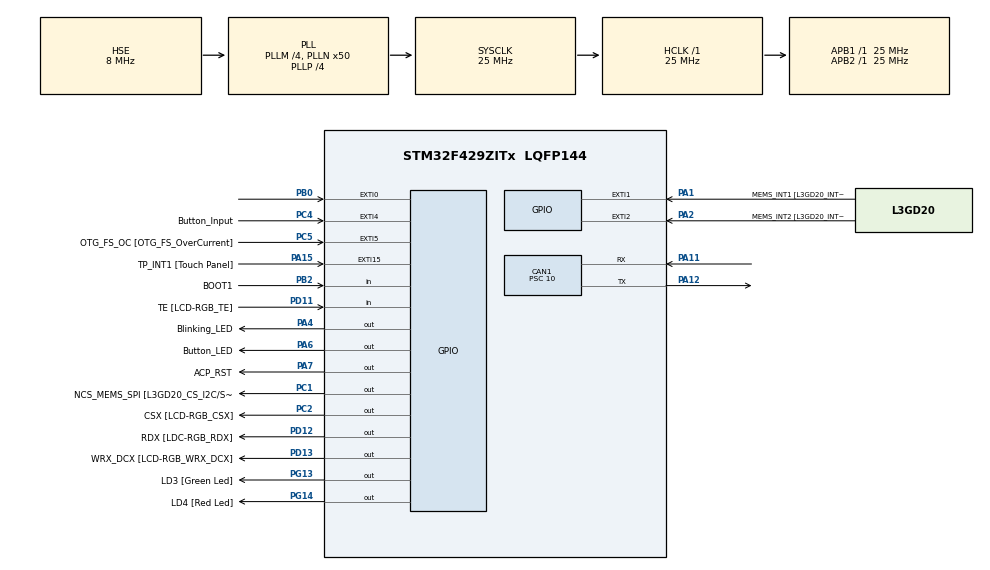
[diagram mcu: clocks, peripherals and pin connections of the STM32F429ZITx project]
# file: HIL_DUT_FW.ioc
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CAN1.BS1=CAN_BS1_8TQ
CAN1.CalculateBaudRate=250000
CAN1.CalculateTimeBit=4000
CAN1.CalculateTimeQuantum=400.0
CAN1.Prescaler=10
Mcu.Family=STM32F4
Mcu.Name=STM32F429ZITx
Mcu.Package=LQFP144
NVIC.CAN1_RX0_IRQn=true\:14\:0\:true\:false\:true\:true\:true\:true
NVIC.CAN1_SCE_IRQn=true\:14\:0\:true\:false\:true\:true\:true\:true
NVIC.CAN1_TX_IRQn=true\:14\:0\:true\:false\:true\:true\:true\:true
NVIC.EXTI0_IRQn=true\:15\:0\:true\:false\:true\:true\:true\:true
NVIC.PriorityGroup=NVIC_PRIORITYGROUP_4
NVIC.TIM6_DAC_IRQn=true\:0\:0\:false\:false\:true\:false\:true\:true
NVIC.TIM7_IRQn=true\:14\:0\:true\:false\:true\:true\:true\:true
NVIC.TimeBase=TIM6_DAC_IRQn
NVIC.TimeBaseIP=TIM6
PA1.GPIO_Label=MEMS_INT1 [L3GD20_INT1]
PA1.GPIO_ModeDefaultEXTI=GPIO_MODE_EVT_RISING
PA1.GPIO_PuPd=GPIO_NOPULL
PA1.Signal=GPXTI1
PA10.GPIO_Label=STLINK_TX [STM32F103CBT6_PA2]
PA10.Signal=USART1_RX
PA11.Mode=CAN_Activate
PA11.Signal=CAN1_RX
PA12.Mode=CAN_Activate
PA12.Signal=CAN1_TX
PA13.GPIO_Label=SWDIO
PA13.Signal=SYS_JTMS-SWDIO
PA14.GPIO_Label=SWCLK
PA14.Signal=SYS_JTCK-SWCLK
PA15.GPIO_Label=TP_INT1 [Touch Panel]
PA15.GPIO_ModeDefaultEXTI=GPIO_MODE_EVT_RISING
PA15.GPIO_PuPd=GPIO_NOPULL
PA15.Signal=GPXTI15
PA2.GPIO_Label=MEMS_INT2 [L3GD20_INT2]
PA2.GPIO_ModeDefaultEXTI=GPIO_MODE_EVT_RISING
PA2.GPIO_PuPd=GPIO_NOPULL
PA2.Signal=GPXTI2
PA3.GPIO_Label=B5
PA3.GPIO_Mode=GPIO_MODE_AF_PP
PA3.GPIO_PuPd=GPIO_NOPULL
PA3.GPIO_Speed=GPIO_SPEED_FREQ_LOW
PA3.Signal=LTDC_B5
PA4.GPIO_Label=Blinking_LED
PA4.Signal=GPIO_Output
PA6.GPIO_Label=Button_LED
PA6.Signal=GPIO_Output
PA7.GPIO_Label=ACP_RST
PA7.GPIO_Mode=GPIO_MODE_OUTPUT_PP
PA7.GPIO_PuPd=GPIO_NOPULL
PA7.GPIO_Speed=GPIO_SPEED_FREQ_LOW
PA7.Signal=GPIO_Output
PA8.GPIO_Label=I2C3_SCL [ACP/RF_SCL]
PA8.GPIO_Mode=GPIO_MODE_AF_OD
PA8.GPIO_PuPd=GPIO_NOPULL
PA8.GPIO_Speed=GPIO_SPEED_FREQ_LOW
PA8.Signal=I2C3_SCL
PA9.GPIO_Label=STLINK_RX [STM32F103CBT6_PA3]
PA9.Signal=USART1_TX
PB0.GPIO_ModeDefaultEXTI=GPIO_MODE_IT_RISING_FALLING
PB0.GPIO_PuPd=GPIO_PULLDOWN
PB0.Signal=GPXTI0
PB1.GPIO_Label=R6
PB1.GPIO_Mode=GPIO_MODE_AF_PP
PB1.GPIO_PuPd=GPIO_NOPULL
PB1.GPIO_Speed=GPIO_SPEED_FREQ_LOW
PB1.Signal=LTDC_R6
PB10.GPIO_Label=G4
PB10.GPIO_Mode=GPIO_MODE_AF_PP
PB10.GPIO_PuPd=GPIO_NOPULL
PB10.GPIO_Speed=GPIO_SPEED_FREQ_LOW
PB10.Signal=LTDC_G4
PB11.GPIO_Label=G5
PB11.GPIO_Mode=GPIO_MODE_AF_PP
PB11.GPIO_PuPd=GPIO_NOPULL
PB11.GPIO_Speed=GPIO_SPEED_FREQ_LOW
PB11.Signal=LTDC_G5
PB12.GPIO_Label=OTG_HS_ID
PB12.GPIO_Mode=GPIO_MODE_AF_PP
PB12.GPIO_PuPd=GPIO_NOPULL
PB12.GPIO_Speed=GPIO_SPEED_FREQ_LOW
PB12.Signal=USB_OTG_HS_ID
PB13.GPIO_Label=VBUS_HS
PB13.GPIO_Mode=GPIO_MODE_INPUT
PB13.GPIO_PuPd=GPIO_NOPULL
PB13.Signal=USB_OTG_HS_VBUS
PB14.GPIO_Label=OTG_HS_DM
PB14.GPIO_Mode=GPIO_MODE_AF_PP
PB14.GPIO_PuPd=GPIO_NOPULL
PB14.GPIO_Speed=GPIO_SPEED_FREQ_LOW
PB14.Signal=USB_OTG_HS_DM
PB15.GPIO_Label=OTG_HS_DP
PB15.GPIO_Mode=GPIO_MODE_AF_PP
PB15.GPIO_PuPd=GPIO_NOPULL
PB15.GPIO_Speed=GPIO_SPEED_FREQ_LOW
PB15.Signal=USB_OTG_HS_DP
PB2/BOOT1.GPIO_Label=BOOT1
PB2/BOOT1.GPIO_Mode=GPIO_MODE_INPUT
PB2/BOOT1.GPIO_PuPd=GPIO_NOPULL
PB2/BOOT1.Signal=GPIO_Input
PB5.GPIO_Label=SDCKE1
PB5.GPIO_Mode=GPIO_MODE_AF_PP
PB5.GPIO_PuPd=GPIO_NOPULL
PB5.GPIO_Speed=GPIO_SPEED_FREQ_VERY_HIGH
PB5.Signal=FMC_SDCKE1
PB6.GPIO_Label=SDNE1 [SDRAM_CS]
PB6.GPIO_Mode=GPIO_MODE_AF_PP
PB6.GPIO_PuPd=GPIO_NOPULL
PB6.GPIO_Speed=GPIO_SPEED_FREQ_VERY_HIGH
PB6.Signal=FMC_SDNE1
PB8.GPIO_Label=B6
PB8.GPIO_Mode=GPIO_MODE_AF_PP
PB8.GPIO_PuPd=GPIO_NOPULL
PB8.GPIO_Speed=GPIO_SPEED_FREQ_LOW
PB8.Signal=LTDC_B6
PB9.GPIO_Label=B7
PB9.GPIO_Mode=GPIO_MODE_AF_PP
PB9.GPIO_PuPd=GPIO_NOPULL
PB9.GPIO_Speed=GPIO_SPEED_FREQ_LOW
PB9.Signal=LTDC_B7
PC0.GPIO_Label=SDNWE
PC0.GPIO_Mode=GPIO_MODE_AF_PP
PC0.GPIO_PuPd=GPIO_NOPULL
PC0.GPIO_Speed=GPIO_SPEED_FREQ_VERY_HIGH
PC0.Signal=FMC_SDNWE
PC1.GPIO_Label=NCS_MEMS_SPI [L3GD20_CS_I2C/SPI]
PC1.GPIO_Mode=GPIO_MODE_OUTPUT_PP
PC1.GPIO_PuPd=GPIO_NOPULL
PC1.GPIO_Speed=GPIO_SPEED_FREQ_LOW
PC1.Signal=GPIO_Output
PC10.GPIO_Label=R2
PC10.GPIO_Mode=GPIO_MODE_AF_PP
PC10.GPIO_PuPd=GPIO_NOPULL
PC10.GPIO_Speed=GPIO_SPEED_FREQ_LOW
PC10.Signal=LTDC_R2
PC14/OSC32_IN.GPIO_Label=PC14-OSC32_IN
PC14/OSC32_IN.Signal=RCC_OSC32_IN
PC15/OSC32_OUT.GPIO_Label=PC15-OSC32_OUT
PC15/OSC32_OUT.Signal=RCC_OSC32_OUT
PC2.GPIO_Label=CSX [LCD-RGB_CSX]
PC2.GPIO_Mode=GPIO_MODE_OUTPUT_PP
PC2.GPIO_PuPd=GPIO_NOPULL
PC2.GPIO_Speed=GPIO_SPEED_FREQ_LOW
PC2.Signal=GPIO_Output
PC4.GPIO_Label=Button_Input
PC4.GPIO_ModeDefaultEXTI=GPIO_MODE_IT_RISING_FALLING
PC4.GPIO_PuPd=GPIO_PULLDOWN
PC4.Signal=GPXTI4
PC5.GPIO_Label=OTG_FS_OC [OTG_FS_OverCurrent]
PC5.GPIO_ModeDefaultEXTI=GPIO_MODE_EVT_RISING
PC5.Signal=GPXTI5
PC6.GPIO_Label=HSYNC
PC6.GPIO_Mode=GPIO_MODE_AF_PP
PC6.GPIO_PuPd=GPIO_NOPULL
PC6.GPIO_Speed=GPIO_SPEED_FREQ_LOW
PC6.Signal=LTDC_HSYNC
PC7.GPIO_Label=G6
PC7.GPIO_Mode=GPIO_MODE_AF_PP
PC7.GPIO_PuPd=GPIO_NOPULL
PC7.GPIO_Speed=GPIO_SPEED_FREQ_LOW
PC7.Signal=LTDC_G6
PC9.GPIO_Label=I2C3_SDA [ACP/RF_SDA]
PC9.GPIO_Mode=GPIO_MODE_AF_OD
PC9.GPIO_PuPd=GPIO_NOPULL
PC9.GPIO_Speed=GPIO_SPEED_FREQ_LOW
PC9.Signal=I2C3_SDA
PD0.GPIO_Label=D2
PD0.GPIO_Mode=GPIO_MODE_AF_PP
PD0.GPIO_PuPd=GPIO_NOPULL
PD0.GPIO_Speed=GPIO_SPEED_FREQ_VERY_HIGH
PD0.Signal=FMC_D2_DA2
PD1.GPIO_Label=D3
PD1.GPIO_Mode=GPIO_MODE_AF_PP
PD1.GPIO_PuPd=GPIO_NOPULL
PD1.GPIO_Speed=GPIO_SPEED_FREQ_VERY_HIGH
PD1.Signal=FMC_D3_DA3
PD10.GPIO_Label=D15
PD10.GPIO_Mode=GPIO_MODE_AF_PP
PD10.GPIO_PuPd=GPIO_NOPULL
PD10.GPIO_Speed=GPIO_SPEED_FREQ_VERY_HIGH
PD10.Signal=FMC_D15_DA15
PD11.GPIO_Label=TE [LCD-RGB_TE]
PD11.GPIO_Mode=GPIO_MODE_INPUT
PD11.GPIO_PuPd=GPIO_NOPULL
PD11.Signal=GPIO_Input
PD12.GPIO_Label=RDX [LDC-RGB_RDX]
PD12.GPIO_Mode=GPIO_MODE_OUTPUT_PP
PD12.GPIO_PuPd=GPIO_NOPULL
PD12.GPIO_Speed=GPIO_SPEED_FREQ_LOW
PD12.Signal=GPIO_Output
PD13.GPIO_Label=WRX_DCX [LCD-RGB_WRX_DCX]
PD13.GPIO_Mode=GPIO_MODE_OUTPUT_PP
PD13.GPIO_PuPd=GPIO_NOPULL
PD13.GPIO_Speed=GPIO_SPEED_FREQ_LOW
PD13.Signal=GPIO_Output
PD14.GPIO_Label=D0
PD14.GPIO_Mode=GPIO_MODE_AF_PP
PD14.GPIO_PuPd=GPIO_NOPULL
PD14.GPIO_Speed=GPIO_SPEED_FREQ_VERY_HIGH
PD14.Signal=FMC_D0_DA0
PD15.GPIO_Label=D1
PD15.GPIO_Mode=GPIO_MODE_AF_PP
PD15.GPIO_PuPd=GPIO_NOPULL
PD15.GPIO_Speed=GPIO_SPEED_FREQ_VERY_HIGH
PD15.Signal=FMC_D1_DA1
PD3.GPIO_Label=G7
PD3.GPIO_Mode=GPIO_MODE_AF_PP
PD3.GPIO_PuPd=GPIO_NOPULL
PD3.GPIO_Speed=GPIO_SPEED_FREQ_LOW
PD3.Signal=LTDC_G7
PD6.GPIO_Label=B2
PD6.GPIO_Mode=GPIO_MODE_AF_PP
PD6.GPIO_PuPd=GPIO_NOPULL
PD6.GPIO_Speed=GPIO_SPEED_FREQ_LOW
PD6.Signal=LTDC_B2
PD8.GPIO_Label=D13
PD8.GPIO_Mode=GPIO_MODE_AF_PP
PD8.GPIO_PuPd=GPIO_NOPULL
PD8.GPIO_Speed=GPIO_SPEED_FREQ_VERY_HIGH
PD8.Signal=FMC_D13_DA13
PD9.GPIO_Label=D14
PD9.GPIO_Mode=GPIO_MODE_AF_PP
PD9.GPIO_PuPd=GPIO_NOPULL
PD9.GPIO_Speed=GPIO_SPEED_FREQ_VERY_HIGH
PD9.Signal=FMC_D14_DA14
PE0.GPIO_Label=NBL0 [SDRAM_LDQM]
PE0.GPIO_Mode=GPIO_MODE_AF_PP
PE0.GPIO_PuPd=GPIO_NOPULL
PE0.GPIO_Speed=GPIO_SPEED_FREQ_VERY_HIGH
PE0.Signal=FMC_NBL0
PE1.GPIO_Label=NBL1 [SDRAM_UDQM]
PE1.GPIO_Mode=GPIO_MODE_AF_PP
PE1.GPIO_PuPd=GPIO_NOPULL
PE1.GPIO_Speed=GPIO_SPEED_FREQ_VERY_HIGH
PE1.Signal=FMC_NBL1
PE10.GPIO_Label=D7
PE10.GPIO_Mode=GPIO_MODE_AF_PP
PE10.GPIO_PuPd=GPIO_NOPULL
PE10.GPIO_Speed=GPIO_SPEED_FREQ_VERY_HIGH
PE10.Signal=FMC_D7_DA7
PE11.GPIO_Label=D8
PE11.GPIO_Mode=GPIO_MODE_AF_PP
PE11.GPIO_PuPd=GPIO_NOPULL
PE11.GPIO_Speed=GPIO_SPEED_FREQ_VERY_HIGH
PE11.Signal=FMC_D8_DA8
PE12.GPIO_Label=D9
PE12.GPIO_Mode=GPIO_MODE_AF_PP
PE12.GPIO_PuPd=GPIO_NOPULL
PE12.GPIO_Speed=GPIO_SPEED_FREQ_VERY_HIGH
PE12.Signal=FMC_D9_DA9
PE13.GPIO_Label=D10
PE13.GPIO_Mode=GPIO_MODE_AF_PP
PE13.GPIO_PuPd=GPIO_NOPULL
PE13.GPIO_Speed=GPIO_SPEED_FREQ_VERY_HIGH
PE13.Signal=FMC_D10_DA10
PE14.GPIO_Label=D11
PE14.GPIO_Mode=GPIO_MODE_AF_PP
PE14.GPIO_PuPd=GPIO_NOPULL
PE14.GPIO_Speed=GPIO_SPEED_FREQ_VERY_HIGH
PE14.Signal=FMC_D11_DA11
PE15.GPIO_Label=D12
PE15.GPIO_Mode=GPIO_MODE_AF_PP
PE15.GPIO_PuPd=GPIO_NOPULL
PE15.GPIO_Speed=GPIO_SPEED_FREQ_VERY_HIGH
PE15.Signal=FMC_D12_DA12
PE7.GPIO_Label=D4
PE7.GPIO_Mode=GPIO_MODE_AF_PP
PE7.GPIO_PuPd=GPIO_NOPULL
PE7.GPIO_Speed=GPIO_SPEED_FREQ_VERY_HIGH
PE7.Signal=FMC_D4_DA4
PE8.GPIO_Label=D5
PE8.GPIO_Mode=GPIO_MODE_AF_PP
PE8.GPIO_PuPd=GPIO_NOPULL
PE8.GPIO_Speed=GPIO_SPEED_FREQ_VERY_HIGH
PE8.Signal=FMC_D5_DA5
PE9.GPIO_Label=D6
PE9.GPIO_Mode=GPIO_MODE_AF_PP
PE9.GPIO_PuPd=GPIO_NOPULL
PE9.GPIO_Speed=GPIO_SPEED_FREQ_VERY_HIGH
PE9.Signal=FMC_D6_DA6
PF0.GPIO_Label=A0
PF0.GPIO_Mode=GPIO_MODE_AF_PP
PF0.GPIO_PuPd=GPIO_NOPULL
PF0.GPIO_Speed=GPIO_SPEED_FREQ_VERY_HIGH
PF0.Signal=FMC_A0
PF1.GPIO_Label=A1
PF1.GPIO_Mode=GPIO_MODE_AF_PP
PF1.GPIO_PuPd=GPIO_NOPULL
PF1.GPIO_Speed=GPIO_SPEED_FREQ_VERY_HIGH
PF1.Signal=FMC_A1
PF10.GPIO_Label=ENABLE [LCD-RGB_ENABLE]
PF10.GPIO_Mode=GPIO_MODE_AF_PP
PF10.GPIO_PuPd=GPIO_NOPULL
PF10.GPIO_Speed=GPIO_SPEED_FREQ_LOW
PF10.Signal=LTDC_DE
PF11.GPIO_Label=SDNRAS
PF11.GPIO_Mode=GPIO_MODE_AF_PP
PF11.GPIO_PuPd=GPIO_NOPULL
PF11.GPIO_Speed=GPIO_SPEED_FREQ_VERY_HIGH
PF11.Signal=FMC_SDNRAS
PF12.GPIO_Label=A6
PF12.GPIO_Mode=GPIO_MODE_AF_PP
PF12.GPIO_PuPd=GPIO_NOPULL
PF12.GPIO_Speed=GPIO_SPEED_FREQ_VERY_HIGH
PF12.Signal=FMC_A6
PF13.GPIO_Label=A7
PF13.GPIO_Mode=GPIO_MODE_AF_PP
PF13.GPIO_PuPd=GPIO_NOPULL
PF13.GPIO_Speed=GPIO_SPEED_FREQ_VERY_HIGH
PF13.Signal=FMC_A7
PF14.GPIO_Label=A8
PF14.GPIO_Mode=GPIO_MODE_AF_PP
PF14.GPIO_PuPd=GPIO_NOPULL
PF14.GPIO_Speed=GPIO_SPEED_FREQ_VERY_HIGH
PF14.Signal=FMC_A8
PF15.GPIO_Label=A9
PF15.GPIO_Mode=GPIO_MODE_AF_PP
PF15.GPIO_PuPd=GPIO_NOPULL
PF15.GPIO_Speed=GPIO_SPEED_FREQ_VERY_HIGH
PF15.Signal=FMC_A9
PF2.GPIO_Label=A2
PF2.GPIO_Mode=GPIO_MODE_AF_PP
PF2.GPIO_PuPd=GPIO_NOPULL
PF2.GPIO_Speed=GPIO_SPEED_FREQ_VERY_HIGH
PF2.Signal=FMC_A2
PF3.GPIO_Label=A3
PF3.GPIO_Mode=GPIO_MODE_AF_PP
PF3.GPIO_PuPd=GPIO_NOPULL
PF3.GPIO_Speed=GPIO_SPEED_FREQ_VERY_HIGH
PF3.Signal=FMC_A3
PF4.GPIO_Label=A4
PF4.GPIO_Mode=GPIO_MODE_AF_PP
PF4.GPIO_PuPd=GPIO_NOPULL
PF4.GPIO_Speed=GPIO_SPEED_FREQ_VERY_HIGH
PF4.Signal=FMC_A4
PF5.GPIO_Label=A5
PF5.GPIO_Mode=GPIO_MODE_AF_PP
PF5.GPIO_PuPd=GPIO_NOPULL
PF5.GPIO_Speed=GPIO_SPEED_FREQ_VERY_HIGH
PF5.Signal=FMC_A5
PF7.GPIO_Label=SPI5_SCK [L3GD20_SCL/SPC]
PF7.GPIO_Mode=GPIO_MODE_AF_PP
PF7.GPIO_PuPd=GPIO_NOPULL
PF7.GPIO_Speed=GPIO_SPEED_FREQ_LOW
PF7.Signal=SPI5_SCK
PF8.GPIO_Label=SPI5_MISO [L3GD20_SDO]
PF8.GPIO_Mode=GPIO_MODE_AF_PP
PF8.GPIO_PuPd=GPIO_NOPULL
PF8.GPIO_Speed=GPIO_SPEED_FREQ_LOW
PF8.Signal=SPI5_MISO
PF9.GPIO_Label=SPI5_MOSI [L3GD20_SDA/SDI/SDO]
PF9.GPIO_Mode=GPIO_MODE_AF_PP
PF9.GPIO_PuPd=GPIO_NOPULL
PF9.GPIO_Speed=GPIO_SPEED_FREQ_LOW
PF9.Signal=SPI5_MOSI
PG0.GPIO_Label=A10
PG0.GPIO_Mode=GPIO_MODE_AF_PP
PG0.GPIO_PuPd=GPIO_NOPULL
PG0.GPIO_Speed=GPIO_SPEED_FREQ_VERY_HIGH
PG0.Signal=FMC_A10
PG1.GPIO_Label=A11
PG1.GPIO_Mode=GPIO_MODE_AF_PP
PG1.GPIO_PuPd=GPIO_NOPULL
PG1.GPIO_Speed=GPIO_SPEED_FREQ_VERY_HIGH
PG1.Signal=FMC_A11
PG10.GPIO_Label=G3
PG10.GPIO_Mode=GPIO_MODE_AF_PP
PG10.GPIO_PuPd=GPIO_NOPULL
PG10.GPIO_Speed=GPIO_SPEED_FREQ_LOW
PG10.Signal=LTDC_G3
PG11.GPIO_Label=B3
PG11.GPIO_Mode=GPIO_MODE_AF_PP
PG11.GPIO_PuPd=GPIO_NOPULL
PG11.GPIO_Speed=GPIO_SPEED_FREQ_LOW
PG11.Signal=LTDC_B3
PG12.GPIO_Label=B4
PG12.GPIO_Mode=GPIO_MODE_AF_PP
PG12.GPIO_PuPd=GPIO_NOPULL
PG12.GPIO_Speed=GPIO_SPEED_FREQ_LOW
PG12.Signal=LTDC_B4
PG13.GPIO_Label=LD3 [Green Led]
PG13.GPIO_Mode=GPIO_MODE_OUTPUT_PP
PG13.GPIO_PuPd=GPIO_NOPULL
PG13.GPIO_Speed=GPIO_SPEED_FREQ_LOW
PG13.Signal=GPIO_Output
PG14.GPIO_Label=LD4 [Red Led]
PG14.GPIO_Mode=GPIO_MODE_OUTPUT_PP
PG14.GPIO_PuPd=GPIO_NOPULL
PG14.GPIO_Speed=GPIO_SPEED_FREQ_LOW
PG14.Signal=GPIO_Output
PG15.GPIO_Label=SDNCAS
PG15.GPIO_Mode=GPIO_MODE_AF_PP
PG15.GPIO_PuPd=GPIO_NOPULL
PG15.GPIO_Speed=GPIO_SPEED_FREQ_VERY_HIGH
PG15.Signal=FMC_SDNCAS
PG4.GPIO_Label=BA0
PG4.GPIO_Mode=GPIO_MODE_AF_PP
PG4.GPIO_PuPd=GPIO_NOPULL
PG4.GPIO_Speed=GPIO_SPEED_FREQ_VERY_HIGH
PG4.Signal=FMC_A14_BA0
PG5.GPIO_Label=BA1
PG5.GPIO_Mode=GPIO_MODE_AF_PP
PG5.GPIO_PuPd=GPIO_NOPULL
PG5.GPIO_Speed=GPIO_SPEED_FREQ_VERY_HIGH
PG5.Signal=FMC_A15_BA1
PG6.GPIO_Label=R7
PG6.GPIO_Mode=GPIO_MODE_AF_PP
PG6.GPIO_PuPd=GPIO_NOPULL
PG6.GPIO_Speed=GPIO_SPEED_FREQ_LOW
PG6.Signal=LTDC_R7
PG7.GPIO_Label=DOTCLK [LCT-RGB_DOTCLK]
PG7.GPIO_Mode=GPIO_MODE_AF_PP
PG7.GPIO_PuPd=GPIO_NOPULL
PG7.GPIO_Speed=GPIO_SPEED_FREQ_LOW
PG7.Signal=LTDC_CLK
PG8.GPIO_Label=SDCLK
PG8.GPIO_Mode=GPIO_MODE_AF_PP
PG8.GPIO_PuPd=GPIO_NOPULL
PG8.GPIO_Speed=GPIO_SPEED_FREQ_VERY_HIGH
PG8.Signal=FMC_SDCLK
PH0/OSC_IN.GPIO_Label=PH0-OSC_IN
PH0/OSC_IN.Signal=RCC_OSC_IN
PH1/OSC_OUT.GPIO_Label=PH1-OSC_OUT
PH1/OSC_OUT.Signal=RCC_OSC_OUT
ProjectManager.HeapSize=0x200
ProjectManager.StackSize=0x400
ProjectManager.TargetToolchain=STM32CubeIDE
RCC.48MHZClocksFreq_Value=14285714.285714285
RCC.AHBFreq_Value=25000000
RCC.APB1Freq_Value=25000000
RCC.APB1TimFreq_Value=25000000
RCC.APB2Freq_Value=25000000
RCC.APB2TimFreq_Value=25000000
RCC.CortexFreq_Value=25000000
RCC.HCLKFreq_Value=25000000
RCC.HSE_VALUE=8000000
RCC.HSI_VALUE=16000000
RCC.LSE_VALUE=32768
RCC.PLLM=8
RCC.PLLN=50
RCC.PLLP=RCC_PLLP_DIV4
RCC.PLLQ=7
RCC.SYSCLKFreq_VALUE=25000000
RCC.SYSCLKSource=RCC_SYSCLKSOURCE_PLLCLK
RCC.VCOOutputFreq_Value=100000000
SH.FMC_A0.0=FMC_A0
SH.FMC_A1.0=FMC_A1
SH.FMC_A10.0=FMC_A10
SH.FMC_A11.0=FMC_A11
SH.FMC_A14_BA0.0=FMC_BA0
SH.FMC_A15_BA1.0=FMC_BA1
SH.FMC_A2.0=FMC_A2
SH.FMC_A3.0=FMC_A3
SH.FMC_A4.0=FMC_A4
SH.FMC_A5.0=FMC_A5
SH.FMC_A6.0=FMC_A6
SH.FMC_A7.0=FMC_A7
SH.FMC_A8.0=FMC_A8
SH.FMC_A9.0=FMC_A9
SH.FMC_D0_DA0.0=FMC_D0
SH.FMC_D10_DA10.0=FMC_D10
SH.FMC_D11_DA11.0=FMC_D11
SH.FMC_D12_DA12.0=FMC_D12
SH.FMC_D13_DA13.0=FMC_D13
SH.FMC_D14_DA14.0=FMC_D14
SH.FMC_D15_DA15.0=FMC_D15
SH.FMC_D1_DA1.0=FMC_D1
SH.FMC_D2_DA2.0=FMC_D2
SH.FMC_D3_DA3.0=FMC_D3
SH.FMC_D4_DA4.0=FMC_D4
SH.FMC_D5_DA5.0=FMC_D5
SH.FMC_D6_DA6.0=FMC_D6
SH.FMC_D7_DA7.0=FMC_D7
SH.FMC_D8_DA8.0=FMC_D8
SH.FMC_D9_DA9.0=FMC_D9
SH.FMC_NBL0.0=FMC_NBL0
SH.FMC_NBL1.0=FMC_NBL1
SH.FMC_SDCLK.0=FMC_SDCLK
SH.FMC_SDNCAS.0=FMC_SDNCAS
SH.FMC_SDNRAS.0=FMC_SDNRAS
SH.FMC_SDNWE.0=FMC_SDNWE
TIM7.AutoReloadPreload=TIM_AUTORELOAD_PRELOAD_ENABLE
TIM7.Period=1249
TIM7.Prescaler=99
VP_SYS_VS_tim6.Mode=TIM6
VP_TIM7_VS_ClockSourceINT.Mode=Enable_Timer
board=STM32F429I-DISC1

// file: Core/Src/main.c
/* USER CODE BEGIN Header */
/**
  ******************************************************************************
  * @file           : main.c
  * @brief          : Main program body
  ******************************************************************************
  * @attention
  *
  * Copyright (c) 2024 STMicroelectronics.
  * All rights reserved.
  *
  * This software is licensed under terms that can be found in the LICENSE file
  * in the root directory of this software component.
  * If no LICENSE file comes with this software, it is provided AS-IS.
  *
  ******************************************************************************
  */
/* USER CODE END Header */
#include "main.h"

/* USER CODE BEGIN Includes */
#include <stdio.h>
#include <string.h>

#include "task_handlers.h"

/* USER CODE END Includes */

/* USER CODE BEGIN PD */
#define TASK_CAN_COMM		0
#define TASK_I2C_COMM		1

typedef void (*FuncPtr)(void *);
/* USER CODE END PD */

CAN_HandleTypeDef hcan1;

TIM_HandleTypeDef htim7;

/* USER CODE BEGIN PV */
SemaphoreHandle_t xLogMutex;

#define MAX_DUT_TASKS	2

TaskHandle_t xtaskHandles[MAX_DUT_TASKS];
static FuncPtr taskFuntions[MAX_DUT_TASKS] = { vCANComm_Handler
		, vI2CComm_Handler };

static const char * taskNames[MAX_DUT_TASKS] = { "vCANComm_Handler"
		, "vI2CComm_Handler" };

/* USER CODE END PV */

void SystemClock_Config(void);
static void MX_GPIO_Init(void);
static void MX_TIM7_Init(void);
static void MX_CAN1_Init(void);
/* USER CODE BEGIN PFP */

extern void vCANComm_Handler(void *pvParam);

/* USER CODE END PFP */

/* USER CODE BEGIN 0 */
static void vFirmware_Init(void);
/* USER CODE END 0 */

int main(void)
{

  /* MCU Configuration--------------------------------------------------------*/

  /* Reset of all peripherals, Initializes the Flash interface and the Systick. */
  HAL_Init();

  /* Configure the system clock */
  SystemClock_Config();

  /* USER CODE BEGIN SysInit */
  printf("HAL_RCC_GetSysClockFreq(): %ld\n",HAL_RCC_GetSysClockFreq());
  printf("HAL_RCC_GetHCLKFreq(): %ld\n",HAL_RCC_GetHCLKFreq());
  printf("HAL_RCC_GetPCLK1Freq(): %ld\n",HAL_RCC_GetPCLK1Freq());
  printf("HAL_RCC_GetPCLK2Freq(): %ld\n",HAL_RCC_GetPCLK2Freq());
  /* USER CODE END SysInit */

  /* Initialize all configured peripherals */
  MX_GPIO_Init();
  MX_TIM7_Init();
  MX_CAN1_Init();
  /* USER CODE BEGIN 2 */

  vFirmware_Init();

  // start the scheduler
  vTaskStartScheduler();

  /* USER CODE END 2 */

  /* Infinite loop */
  while (1)
  {

  }
}

void SystemClock_Config(void)
{
  RCC_OscInitTypeDef RCC_OscInitStruct = {0};
  RCC_ClkInitTypeDef RCC_ClkInitStruct = {0};

  /** Configure the main internal regulator output voltage
  */
  __HAL_RCC_PWR_CLK_ENABLE();
  __HAL_PWR_VOLTAGESCALING_CONFIG(PWR_REGULATOR_VOLTAGE_SCALE3);

  /** Initializes the RCC Oscillators according to the specified parameters
  * in the RCC_OscInitTypeDef structure.
  */
  RCC_OscInitStruct.OscillatorType = RCC_OSCILLATORTYPE_HSE;
  RCC_OscInitStruct.HSEState = RCC_HSE_ON;
  RCC_OscInitStruct.HSIState = RCC_HSI_OFF;
  RCC_OscInitStruct.HSICalibrationValue = 0;
  RCC_OscInitStruct.PLL.PLLState = RCC_PLL_ON;
  RCC_OscInitStruct.PLL.PLLSource = RCC_PLLSOURCE_HSE;
  RCC_OscInitStruct.PLL.PLLM = 4;
  RCC_OscInitStruct.PLL.PLLN = 50;
  RCC_OscInitStruct.PLL.PLLP = RCC_PLLP_DIV4;
  RCC_OscInitStruct.PLL.PLLQ = 7;
  if (HAL_RCC_OscConfig(&RCC_OscInitStruct) != HAL_OK)
  {
    Error_Handler();
  }

  /** Initializes the CPU, AHB and APB buses clocks
  */
  RCC_ClkInitStruct.ClockType = RCC_CLOCKTYPE_HCLK|RCC_CLOCKTYPE_SYSCLK
                              |RCC_CLOCKTYPE_PCLK1|RCC_CLOCKTYPE_PCLK2;
  RCC_ClkInitStruct.SYSCLKSource = RCC_SYSCLKSOURCE_PLLCLK;
  RCC_ClkInitStruct.AHBCLKDivider = RCC_SYSCLK_DIV1;
  RCC_ClkInitStruct.APB1CLKDivider = RCC_HCLK_DIV1;
  RCC_ClkInitStruct.APB2CLKDivider = RCC_HCLK_DIV1;

  if (HAL_RCC_ClockConfig(&RCC_ClkInitStruct, FLASH_LATENCY_0) != HAL_OK)
  {
    Error_Handler();
  }
}

static void MX_CAN1_Init(void)
{

  /* USER CODE BEGIN CAN1_Init 1 */
	/* 250 Kbps bus */
  /* USER CODE END CAN1_Init 1 */
  hcan1.Instance = CAN1;
  hcan1.Init.Prescaler = 10;
  hcan1.Init.Mode = CAN_MODE_NORMAL;
  hcan1.Init.SyncJumpWidth = CAN_SJW_1TQ;
  hcan1.Init.TimeSeg1 = CAN_BS1_8TQ;
  hcan1.Init.TimeSeg2 = CAN_BS2_1TQ;
  hcan1.Init.TimeTriggeredMode = DISABLE;
  hcan1.Init.AutoBusOff = DISABLE;
  hcan1.Init.AutoWakeUp = DISABLE;
  hcan1.Init.AutoRetransmission = DISABLE;
  hcan1.Init.ReceiveFifoLocked = DISABLE;
  hcan1.Init.TransmitFifoPriority = DISABLE;
  if (HAL_CAN_Init(&hcan1) != HAL_OK)
  {
    Error_Handler();
  }

}

static void MX_TIM7_Init(void)
{

  /* USER CODE BEGIN TIM7_Init 0 */
  /* GPIO PA4 blinking timer */
  /* USER CODE END TIM7_Init 0 */

  TIM_MasterConfigTypeDef sMasterConfig = {0};

  htim7.Instance = TIM7;
  htim7.Init.Prescaler = 99;
  htim7.Init.CounterMode = TIM_COUNTERMODE_UP;
  htim7.Init.Period = 1249;
  htim7.Init.AutoReloadPreload = TIM_AUTORELOAD_PRELOAD_ENABLE;
  if (HAL_TIM_Base_Init(&htim7) != HAL_OK)
  {
    Error_Handler();
  }
  sMasterConfig.MasterOutputTrigger = TIM_TRGO_RESET;
  sMasterConfig.MasterSlaveMode = TIM_MASTERSLAVEMODE_DISABLE;
  if (HAL_TIMEx_MasterConfigSynchronization(&htim7, &sMasterConfig) != HAL_OK)
  {
    Error_Handler();
  }

}

static void MX_GPIO_Init(void)
{
  GPIO_InitTypeDef GPIO_InitStruct = {0};

  /* GPIO Ports Clock Enable */
  __HAL_RCC_GPIOC_CLK_ENABLE();
  __HAL_RCC_GPIOF_CLK_ENABLE();
  __HAL_RCC_GPIOH_CLK_ENABLE();
  __HAL_RCC_GPIOA_CLK_ENABLE();
  __HAL_RCC_GPIOB_CLK_ENABLE();
  __HAL_RCC_GPIOG_CLK_ENABLE();
  __HAL_RCC_GPIOE_CLK_ENABLE();
  __HAL_RCC_GPIOD_CLK_ENABLE();

  /*Configure GPIO pin Output Level */
  HAL_GPIO_WritePin(GPIOC, NCS_MEMS_SPI_Pin|CSX_Pin, GPIO_PIN_RESET);

  /*Configure GPIO pin Output Level */
  HAL_GPIO_WritePin(GPIOA, Blinking_LED_Pin|Button_LED_Pin|ACP_RST_Pin, GPIO_PIN_RESET);

  /*Configure GPIO pin Output Level */
  HAL_GPIO_WritePin(GPIOD, RDX_Pin|WRX_DCX_Pin, GPIO_PIN_RESET);

  /*Configure GPIO pin Output Level */
  HAL_GPIO_WritePin(GPIOG, LD3_Pin|LD4_Pin, GPIO_PIN_RESET);

  /*Configure GPIO pins : A0_Pin A1_Pin A2_Pin A3_Pin
                           A4_Pin A5_Pin SDNRAS_Pin A6_Pin
                           A7_Pin A8_Pin A9_Pin */
  GPIO_InitStruct.Pin = A0_Pin|A1_Pin|A2_Pin|A3_Pin
                          |A4_Pin|A5_Pin|SDNRAS_Pin|A6_Pin
                          |A7_Pin|A8_Pin|A9_Pin;
  GPIO_InitStruct.Mode = GPIO_MODE_AF_PP;
  GPIO_InitStruct.Pull = GPIO_NOPULL;
  GPIO_InitStruct.Speed = GPIO_SPEED_FREQ_VERY_HIGH;
  GPIO_InitStruct.Alternate = GPIO_AF12_FMC;
  HAL_GPIO_Init(GPIOF, &GPIO_InitStruct);

  /*Configure GPIO pins : SPI5_SCK_Pin SPI5_MISO_Pin SPI5_MOSI_Pin */
  GPIO_InitStruct.Pin = SPI5_SCK_Pin|SPI5_MISO_Pin|SPI5_MOSI_Pin;
  GPIO_InitStruct.Mode = GPIO_MODE_AF_PP;
  GPIO_InitStruct.Pull = GPIO_NOPULL;
  GPIO_InitStruct.Speed = GPIO_SPEED_FREQ_LOW;
  GPIO_InitStruct.Alternate = GPIO_AF5_SPI5;
  HAL_GPIO_Init(GPIOF, &GPIO_InitStruct);

  /*Configure GPIO pin : ENABLE_Pin */
  GPIO_InitStruct.Pin = ENABLE_Pin;
  GPIO_InitStruct.Mode = GPIO_MODE_AF_PP;
  GPIO_InitStruct.Pull = GPIO_NOPULL;
  GPIO_InitStruct.Speed = GPIO_SPEED_FREQ_LOW;
  GPIO_InitStruct.Alternate = GPIO_AF14_LTDC;
  HAL_GPIO_Init(ENABLE_GPIO_Port, &GPIO_InitStruct);

  /*Configure GPIO pin : SDNWE_Pin */
  GPIO_InitStruct.Pin = SDNWE_Pin;
  GPIO_InitStruct.Mode = GPIO_MODE_AF_PP;
  GPIO_InitStruct.Pull = GPIO_NOPULL;
  GPIO_InitStruct.Speed = GPIO_SPEED_FREQ_VERY_HIGH;
  GPIO_InitStruct.Alternate = GPIO_AF12_FMC;
  HAL_GPIO_Init(SDNWE_GPIO_Port, &GPIO_InitStruct);

  /*Configure GPIO pins : NCS_MEMS_SPI_Pin CSX_Pin */
  GPIO_InitStruct.Pin = NCS_MEMS_SPI_Pin|CSX_Pin;
  GPIO_InitStruct.Mode = GPIO_MODE_OUTPUT_PP;
  GPIO_InitStruct.Pull = GPIO_NOPULL;
  GPIO_InitStruct.Speed = GPIO_SPEED_FREQ_LOW;
  HAL_GPIO_Init(GPIOC, &GPIO_InitStruct);

  /*Configure GPIO pins : MEMS_INT1_Pin MEMS_INT2_Pin TP_INT1_Pin */
  GPIO_InitStruct.Pin = MEMS_INT1_Pin|MEMS_INT2_Pin|TP_INT1_Pin;
  GPIO_InitStruct.Mode = GPIO_MODE_EVT_RISING;
  GPIO_InitStruct.Pull = GPIO_NOPULL;
  HAL_GPIO_Init(GPIOA, &GPIO_InitStruct);

  /*Configure GPIO pin : B5_Pin */
  GPIO_InitStruct.Pin = B5_Pin;
  GPIO_InitStruct.Mode = GPIO_MODE_AF_PP;
  GPIO_InitStruct.Pull = GPIO_NOPULL;
  GPIO_InitStruct.Speed = GPIO_SPEED_FREQ_LOW;
  GPIO_InitStruct.Alternate = GPIO_AF14_LTDC;
  HAL_GPIO_Init(B5_GPIO_Port, &GPIO_InitStruct);

  /*Configure GPIO pins : Blinking_LED_Pin Button_LED_Pin ACP_RST_Pin */
  GPIO_InitStruct.Pin = Blinking_LED_Pin|Button_LED_Pin|ACP_RST_Pin;
  GPIO_InitStruct.Mode = GPIO_MODE_OUTPUT_PP;
  GPIO_InitStruct.Pull = GPIO_NOPULL;
  GPIO_InitStruct.Speed = GPIO_SPEED_FREQ_LOW;
  HAL_GPIO_Init(GPIOA, &GPIO_InitStruct);

  /*Configure GPIO pin : Button_Input_Pin */
  GPIO_InitStruct.Pin = Button_Input_Pin;
  GPIO_InitStruct.Mode = GPIO_MODE_IT_RISING_FALLING;
  GPIO_InitStruct.Pull = GPIO_PULLDOWN;
  HAL_GPIO_Init(Button_Input_GPIO_Port, &GPIO_InitStruct);

  /*Configure GPIO pin : OTG_FS_OC_Pin */
  GPIO_InitStruct.Pin = OTG_FS_OC_Pin;
  GPIO_InitStruct.Mode = GPIO_MODE_EVT_RISING;
  GPIO_InitStruct.Pull = GPIO_NOPULL;
  HAL_GPIO_Init(OTG_FS_OC_GPIO_Port, &GPIO_InitStruct);

  /*Configure GPIO pin : PB0 */
  GPIO_InitStruct.Pin = GPIO_PIN_0;
  GPIO_InitStruct.Mode = GPIO_MODE_IT_RISING_FALLING;
  GPIO_InitStruct.Pull = GPIO_PULLDOWN;
  HAL_GPIO_Init(GPIOB, &GPIO_InitStruct);

  /*Configure GPIO pin : R6_Pin */
  GPIO_InitStruct.Pin = R6_Pin;
  GPIO_InitStruct.Mode = GPIO_MODE_AF_PP;
  GPIO_InitStruct.Pull = GPIO_NOPULL;
  GPIO_InitStruct.Speed = GPIO_SPEED_FREQ_LOW;
  GPIO_InitStruct.Alternate = GPIO_AF9_LTDC;
  HAL_GPIO_Init(R6_GPIO_Port, &GPIO_InitStruct);

  /*Configure GPIO pin : BOOT1_Pin */
  GPIO_InitStruct.Pin = BOOT1_Pin;
  GPIO_InitStruct.Mode = GPIO_MODE_INPUT;
  GPIO_InitStruct.Pull = GPIO_NOPULL;
  HAL_GPIO_Init(BOOT1_GPIO_Port, &GPIO_InitStruct);

  /*Configure GPIO pins : A10_Pin A11_Pin BA0_Pin BA1_Pin
                           SDCLK_Pin SDNCAS_Pin */
  GPIO_InitStruct.Pin = A10_Pin|A11_Pin|BA0_Pin|BA1_Pin
                          |SDCLK_Pin|SDNCAS_Pin;
  GPIO_InitStruct.Mode = GPIO_MODE_AF_PP;
  GPIO_InitStruct.Pull = GPIO_NOPULL;
  GPIO_InitStruct.Speed = GPIO_SPEED_FREQ_VERY_HIGH;
  GPIO_InitStruct.Alternate = GPIO_AF12_FMC;
  HAL_GPIO_Init(GPIOG, &GPIO_InitStruct);

  /*Configure GPIO pins : D4_Pin D5_Pin D6_Pin D7_Pin
                           D8_Pin D9_Pin D10_Pin D11_Pin
                           D12_Pin NBL0_Pin NBL1_Pin */
  GPIO_InitStruct.Pin = D4_Pin|D5_Pin|D6_Pin|D7_Pin
                          |D8_Pin|D9_Pin|D10_Pin|D11_Pin
                          |D12_Pin|NBL0_Pin|NBL1_Pin;
  GPIO_InitStruct.Mode = GPIO_MODE_AF_PP;
  GPIO_InitStruct.Pull = GPIO_NOPULL;
  GPIO_InitStruct.Speed = GPIO_SPEED_FREQ_VERY_HIGH;
  GPIO_InitStruct.Alternate = GPIO_AF12_FMC;
  HAL_GPIO_Init(GPIOE, &GPIO_InitStruct);

  /*Configure GPIO pins : G4_Pin G5_Pin B6_Pin B7_Pin */
  GPIO_InitStruct.Pin = G4_Pin|G5_Pin|B6_Pin|B7_Pin;
  GPIO_InitStruct.Mode = GPIO_MODE_AF_PP;
  GPIO_InitStruct.Pull = GPIO_NOPULL;
  GPIO_InitStruct.Speed = GPIO_SPEED_FREQ_LOW;
  GPIO_InitStruct.Alternate = GPIO_AF14_LTDC;
  HAL_GPIO_Init(GPIOB, &GPIO_InitStruct);

  /*Configure GPIO pins : OTG_HS_ID_Pin OTG_HS_DM_Pin OTG_HS_DP_Pin */
  GPIO_InitStruct.Pin = OTG_HS_ID_Pin|OTG_HS_DM_Pin|OTG_HS_DP_Pin;
  GPIO_InitStruct.Mode = GPIO_MODE_AF_PP;
  GPIO_InitStruct.Pull = GPIO_NOPULL;
  GPIO_InitStruct.Speed = GPIO_SPEED_FREQ_LOW;
  GPIO_InitStruct.Alternate = GPIO_AF12_OTG_HS_FS;
  HAL_GPIO_Init(GPIOB, &GPIO_InitStruct);

  /*Configure GPIO pin : VBUS_HS_Pin */
  GPIO_InitStruct.Pin = VBUS_HS_Pin;
  GPIO_InitStruct.Mode = GPIO_MODE_INPUT;
  GPIO_InitStruct.Pull = GPIO_NOPULL;
  HAL_GPIO_Init(VBUS_HS_GPIO_Port, &GPIO_InitStruct);

  /*Configure GPIO pins : D13_Pin D14_Pin D15_Pin D0_Pin
                           D1_Pin D2_Pin D3_Pin */
  GPIO_InitStruct.Pin = D13_Pin|D14_Pin|D15_Pin|D0_Pin
                          |D1_Pin|D2_Pin|D3_Pin;
  GPIO_InitStruct.Mode = GPIO_MODE_AF_PP;
  GPIO_InitStruct.Pull = GPIO_NOPULL;
  GPIO_InitStruct.Speed = GPIO_SPEED_FREQ_VERY_HIGH;
  GPIO_InitStruct.Alternate = GPIO_AF12_FMC;
  HAL_GPIO_Init(GPIOD, &GPIO_InitStruct);

  /*Configure GPIO pin : TE_Pin */
  GPIO_InitStruct.Pin = TE_Pin;
  GPIO_InitStruct.Mode = GPIO_MODE_INPUT;
  GPIO_InitStruct.Pull = GPIO_NOPULL;
  HAL_GPIO_Init(TE_GPIO_Port, &GPIO_InitStruct);

  /*Configure GPIO pins : RDX_Pin WRX_DCX_Pin */
  GPIO_InitStruct.Pin = RDX_Pin|WRX_DCX_Pin;
  GPIO_InitStruct.Mode = GPIO_MODE_OUTPUT_PP;
  GPIO_InitStruct.Pull = GPIO_NOPULL;
  GPIO_InitStruct.Speed = GPIO_SPEED_FREQ_LOW;
  HAL_GPIO_Init(GPIOD, &GPIO_InitStruct);

  /*Configure GPIO pins : R7_Pin DOTCLK_Pin B3_Pin */
  GPIO_InitStruct.Pin = R7_Pin|DOTCLK_Pin|B3_Pin;
  GPIO_InitStruct.Mode = GPIO_MODE_AF_PP;
  GPIO_InitStruct.Pull = GPIO_NOPULL;
  GPIO_InitStruct.Speed = GPIO_SPEED_FREQ_LOW;
  GPIO_InitStruct.Alternate = GPIO_AF14_LTDC;
  HAL_GPIO_Init(GPIOG, &GPIO_InitStruct);

  /*Configure GPIO pins : HSYNC_Pin G6_Pin R2_Pin */
  GPIO_InitStruct.Pin = HSYNC_Pin|G6_Pin|R2_Pin;
  GPIO_InitStruct.Mode = GPIO_MODE_AF_PP;
  GPIO_InitStruct.Pull = GPIO_NOPULL;
  GPIO_InitStruct.Speed = GPIO_SPEED_FREQ_LOW;
  GPIO_InitStruct.Alternate = GPIO_AF14_LTDC;
  HAL_GPIO_Init(GPIOC, &GPIO_InitStruct);

  /*Configure GPIO pin : I2C3_SDA_Pin */
  GPIO_InitStruct.Pin = I2C3_SDA_Pin;
  GPIO_InitStruct.Mode = GPIO_MODE_AF_OD;
  GPIO_InitStruct.Pull = GPIO_NOPULL;
  GPIO_InitStruct.Speed = GPIO_SPEED_FREQ_LOW;
  GPIO_InitStruct.Alternate = GPIO_AF4_I2C3;
  HAL_GPIO_Init(I2C3_SDA_GPIO_Port, &GPIO_InitStruct);

  /*Configure GPIO pin : I2C3_SCL_Pin */
  GPIO_InitStruct.Pin = I2C3_SCL_Pin;
  GPIO_InitStruct.Mode = GPIO_MODE_AF_OD;
  GPIO_InitStruct.Pull = GPIO_NOPULL;
  GPIO_InitStruct.Speed = GPIO_SPEED_FREQ_LOW;
  GPIO_InitStruct.Alternate = GPIO_AF4_I2C3;
  HAL_GPIO_Init(I2C3_SCL_GPIO_Port, &GPIO_InitStruct);

  /*Configure GPIO pins : STLINK_RX_Pin STLINK_TX_Pin */
  GPIO_InitStruct.Pin = STLINK_RX_Pin|STLINK_TX_Pin;
  GPIO_InitStruct.Mode = GPIO_MODE_AF_PP;
  GPIO_InitStruct.Pull = GPIO_NOPULL;
  GPIO_InitStruct.Speed = GPIO_SPEED_FREQ_VERY_HIGH;
  GPIO_InitStruct.Alternate = GPIO_AF7_USART1;
  HAL_GPIO_Init(GPIOA, &GPIO_InitStruct);

  /*Configure GPIO pins : G7_Pin B2_Pin */
  GPIO_InitStruct.Pin = G7_Pin|B2_Pin;
  GPIO_InitStruct.Mode = GPIO_MODE_AF_PP;
  GPIO_InitStruct.Pull = GPIO_NOPULL;
  GPIO_InitStruct.Speed = GPIO_SPEED_FREQ_LOW;
  GPIO_InitStruct.Alternate = GPIO_AF14_LTDC;
  HAL_GPIO_Init(GPIOD, &GPIO_InitStruct);

  /*Configure GPIO pins : G3_Pin B4_Pin */
  GPIO_InitStruct.Pin = G3_Pin|B4_Pin;
  GPIO_InitStruct.Mode = GPIO_MODE_AF_PP;
  GPIO_InitStruct.Pull = GPIO_NOPULL;
  GPIO_InitStruct.Speed = GPIO_SPEED_FREQ_LOW;
  GPIO_InitStruct.Alternate = GPIO_AF9_LTDC;
  HAL_GPIO_Init(GPIOG, &GPIO_InitStruct);

  /*Configure GPIO pins : LD3_Pin LD4_Pin */
  GPIO_InitStruct.Pin = LD3_Pin|LD4_Pin;
  GPIO_InitStruct.Mode = GPIO_MODE_OUTPUT_PP;
  GPIO_InitStruct.Pull = GPIO_NOPULL;
  GPIO_InitStruct.Speed = GPIO_SPEED_FREQ_LOW;
  HAL_GPIO_Init(GPIOG, &GPIO_InitStruct);

  /*Configure GPIO pins : SDCKE1_Pin SDNE1_Pin */
  GPIO_InitStruct.Pin = SDCKE1_Pin|SDNE1_Pin;
  GPIO_InitStruct.Mode = GPIO_MODE_AF_PP;
  GPIO_InitStruct.Pull = GPIO_NOPULL;
  GPIO_InitStruct.Speed = GPIO_SPEED_FREQ_VERY_HIGH;
  GPIO_InitStruct.Alternate = GPIO_AF12_FMC;
  HAL_GPIO_Init(GPIOB, &GPIO_InitStruct);

  /* EXTI interrupt init*/
  HAL_NVIC_SetPriority(EXTI0_IRQn, 15, 0);
  HAL_NVIC_EnableIRQ(EXTI0_IRQn);

}

/* USER CODE BEGIN 4 */

void vFirmware_Init(void)
{
	HAL_StatusTypeDef status = HAL_ERROR;
	BaseType_t xReturned = pdFAIL;

	xLogMutex = xSemaphoreCreateRecursiveMutex();
	configASSERT( xLogMutex != NULL );

	/* Start timer 7 */
	status = HAL_TIM_Base_Start_IT(&htim7);
	configASSERT(HAL_OK == status);

	xReturned = xTaskCreate(taskFuntions[TASK_CAN_COMM]
			, taskNames[TASK_CAN_COMM]
			, (2 * configMINIMAL_STACK_SIZE)
			, NULL
			, tskIDLE_PRIORITY + 1,
			&xtaskHandles[TASK_CAN_COMM]);
	configASSERT( pdPASS == xReturned );

	/* Activate CAN1 */
	status = HAL_CAN_ActivateNotification(&hcan1, CAN_IT_TX_MAILBOX_EMPTY | CAN_IT_RX_FIFO0_MSG_PENDING | CAN_IT_BUSOFF);		/* Activate interrupt */
	configASSERT(HAL_OK == status);

	status = HAL_CAN_Start(&hcan1);	/* Move the CAN controller to Normal mode */
	configASSERT(HAL_OK == status);

	Add_To_Log("Firmware Init complete\n");
}

void HAL_GPIO_EXTI_Callback(uint16_t GPIO_Pin)
{
    static uint32_t last_interrupt_time = 0;
    uint32_t current_interrupt_time = HAL_GetTick(); /* Get current tick count (tick is running 1ms) */

    if (GPIO_Pin == GPIO_PIN_0) {
        /* Check if the interrupt occurred at least 50 ms after the last interrupt */
        if (current_interrupt_time - last_interrupt_time > 50) {

            GPIO_PinState state = HAL_GPIO_ReadPin(GPIOB, GPIO_PIN_0);

			/* If PB0 is HIGH, set PA6 HIGH
			 If PB0 is LOW, set PA6 LOW */
            HAL_GPIO_WritePin(GPIOA, GPIO_PIN_6, state);

            last_interrupt_time = current_interrupt_time;
        }
    }
}

void HAL_CAN_TxMailbox0CompleteCallback(CAN_HandleTypeDef *hcan)
{
	printf("Message Transmitted MB0\n");
}
void HAL_CAN_TxMailbox1CompleteCallback(CAN_HandleTypeDef *hcan)
{
	printf("Message Transmitted MB1\n");
}

void HAL_CAN_TxMailbox2CompleteCallback(CAN_HandleTypeDef *hcan)
{
	printf("Message Transmitted MB2\n");
}

void HAL_CAN_RxFifo0MsgPendingCallback(CAN_HandleTypeDef *hcan)
{

	printf("RxFifo0 Message Pending\n");
	/*
	HAL_StatusTypeDef ret = 0;
	CAN_RxHeaderTypeDef sRxHdr = {0};
	uint8_t ucRxBuf[5] = {0};

	ret = HAL_CAN_GetRxMessage( &hcan1, CAN_RX_FIFO0, &sRxHdr, ucRxBuf );
	if( ret != HAL_OK ) {
		ErrorHandler();
	}

	Log_Message("CAN Message Received: ");
	Log_Message((const char*)ucRxBuf);
	Log_Message("\n");*/
}

void HAL_CAN_ErrorCallback(CAN_HandleTypeDef *hcan)
{
	printf("CAN Error: %lX\n", hcan->ErrorCode);
}

/* USER CODE END 4 */

void HAL_TIM_PeriodElapsedCallback(TIM_HandleTypeDef *htim)
{
  if (htim->Instance == TIM6) {
    HAL_IncTick();
  }
  /* USER CODE BEGIN Callback 1 */
  if (htim->Instance == TIM7) {
	  HAL_GPIO_TogglePin(GPIOA, GPIO_PIN_4);
  }
  /* USER CODE END Callback 1 */
}

void Error_Handler(void)
{
  __disable_irq();
  while (1)
  {
  }
}
